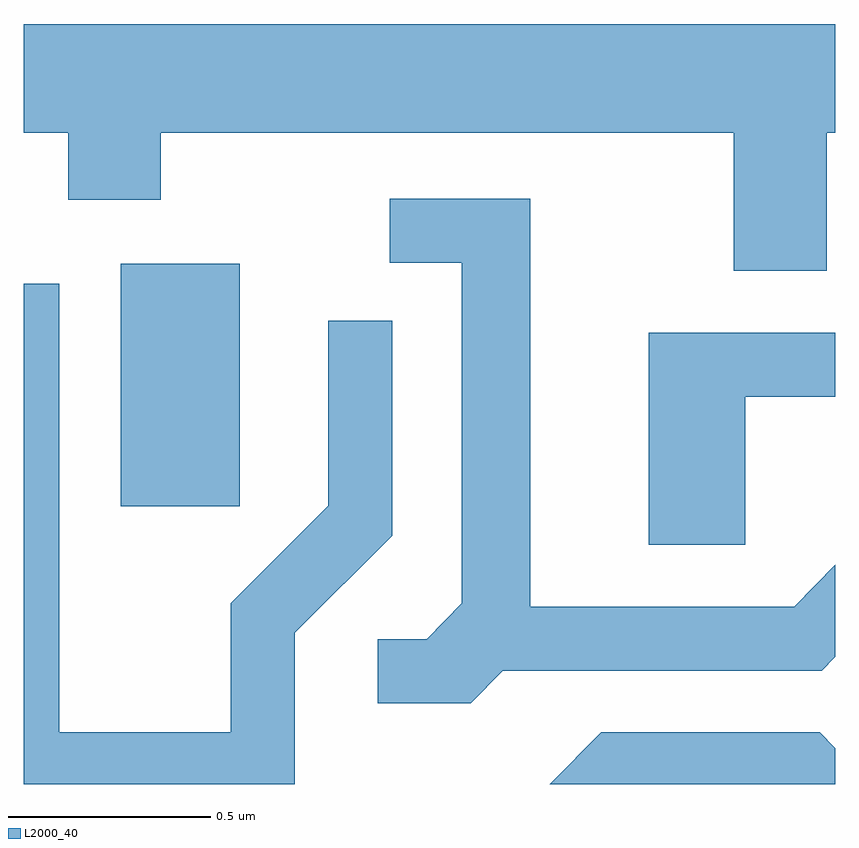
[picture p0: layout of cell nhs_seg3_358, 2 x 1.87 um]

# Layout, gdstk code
import gdstk
lib = gdstk.Library(unit=1e-6, precision=1e-09)
def R(c, l, rs):  # rectangles x0, y0, x1, y1
    for r in rs: c.add(gdstk.rectangle(r[:2], r[2:], *l))
def P(c, l, *ps):  # polygons
    for p in ps: c.add(gdstk.Polygon(p, *l))
L2000_40 = (2000, 40)

nhs_seg3_358 = lib.new_cell('nhs_seg3_358')
R(nhs_seg3_358, L2000_40, [(187.851,1200.576,188.144,1201.174)])
P(nhs_seg3_358, L2000_40, [(189.589,1201.496),(189.611,1201.496),(189.611,1201.764),(187.611,1201.764),(187.611,1201.496),(187.721,1201.496),(187.721,1201.331),(187.949,1201.331),(187.949,1201.496),(189.361,1201.496),(189.361,1201.156),(189.589,1201.156)],
  [(188.792,1200.171),(189.577,1200.171),(189.611,1200.205),(189.611,1200.432),(189.509,1200.329),(188.859,1200.329),(188.859,1201.334),(188.513,1201.334),(188.513,1201.176),(188.691,1201.176),(188.691,1200.337),(188.604,1200.249),(188.483,1200.249),(188.483,1200.091),(188.712,1200.091)],
  [(188.279,1200.264),(188.519,1200.504),(188.519,1201.033),(188.361,1201.033),(188.361,1200.577),(188.121,1200.337),(188.121,1200.019),(187.699,1200.019),(187.699,1201.124),(187.611,1201.124),(187.611,1199.892),(188.279,1199.892)],
  [(189.389,1200.846),(189.611,1200.846),(189.611,1201.004),(189.151,1201.004),(189.151,1200.481),(189.389,1200.481)],
  [(189.611,1199.98),(189.572,1200.019),(189.034,1200.019),(188.907,1199.892),(189.611,1199.892)])

lib.write_gds('nhs_seg3_358.gds')
